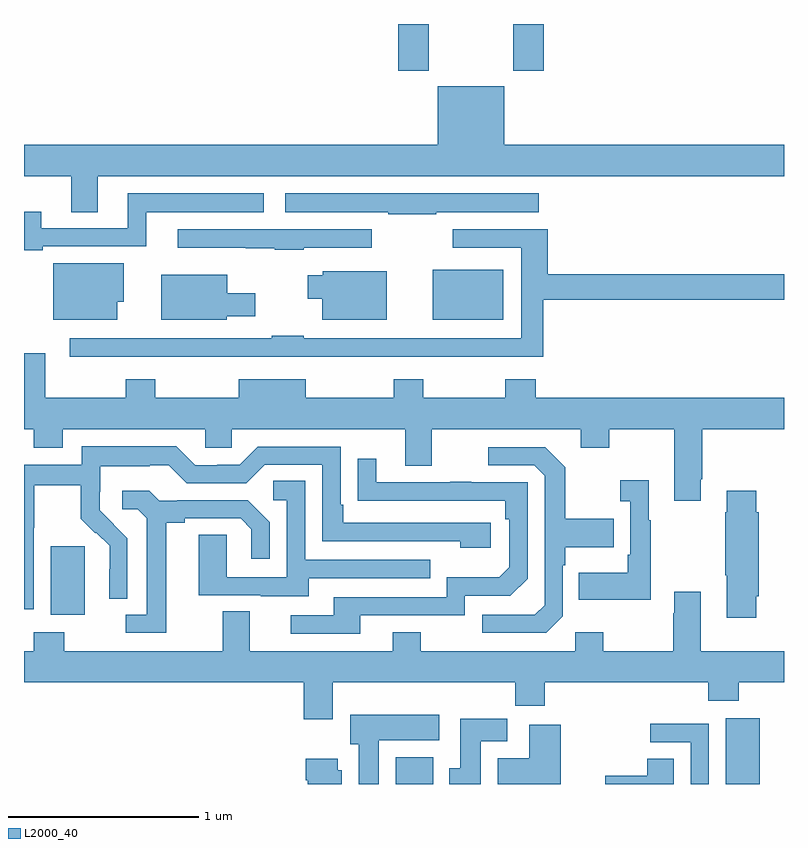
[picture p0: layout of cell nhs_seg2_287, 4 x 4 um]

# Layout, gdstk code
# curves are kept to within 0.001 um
import gdstk
lib = gdstk.Library(unit=1e-6, precision=1e-09)
def R(c, l, rs):  # rectangles x0, y0, x1, y1
    for r in rs: c.add(gdstk.rectangle(r[:2], r[2:], *l))
def P(c, l, *ps):  # polygons
    for p in ps: c.add(gdstk.Polygon(p, *l))
L2000_40 = (2000, 40)

nhs_seg2_287 = lib.new_cell('nhs_seg2_287')
R(nhs_seg2_287, L2000_40, [(126.956,613.8,127.153,613.942), (128.693,613.8,128.872,614.146), (125.141,614.69,125.32,615.051), (127.151,616.244,127.522,616.507), (126.971,617.553,127.131,617.8), (127.576,617.553,127.736,617.8)])
P(nhs_seg2_287, L2000_40, [(125.389,617),(129,617),(129,617.164),(127.528,617.164),(127.528,617.473),(127.178,617.473),(127.178,617.164),(125,617.164),(125,617),(125.249,617),(125.249,616.81),(125.389,616.81)],
  [(125.098,616.629),(125.644,616.629),(125.644,616.808),(126.262,616.808),(126.262,616.909),(125.546,616.909),(125.546,616.725),(125.092,616.725),(125.092,616.813),(125,616.813),(125,616.609),(125.098,616.609)],
  [(127.169,616.808),(127.708,616.808),(127.708,616.909),(126.375,616.909),(126.375,616.808),(126.916,616.808),(126.916,616.798),(127.169,616.798)],
  [(126.473,616.623),(126.829,616.623),(126.829,616.719),(125.808,616.719),(125.808,616.622),(126.166,616.622),(126.166,616.621),(126.32,616.621),(126.32,616.611),(126.473,616.611)],
  [(126.035,616.05),(126.58,616.05),(126.58,616.049),(126.857,616.049),(126.857,616.05),(127.189,616.05),(127.189,616.049),(127.445,616.049),(127.445,616.05),(127.733,616.05),(127.733,616.348),(129,616.348),(129,616.484),(127.757,616.484),(127.757,616.719),(127.257,616.719),(127.257,616.623),(127.617,616.623),(127.617,616.146),(126.473,616.146),(126.473,616.159),(126.304,616.159),(126.304,616.146),(125.241,616.146),(125.241,616.05),(125.779,616.05),(125.779,616.049),(126.035,616.049)],
  [(125.491,616.337),(125.524,616.337),(125.524,616.54),(125.153,616.54),(125.153,616.244),(125.491,616.244)],
  [(126.91,616.498),(126.573,616.498),(126.573,616.477),(126.494,616.477),(126.494,616.355),(126.569,616.355),(126.569,616.244),(126.91,616.244)],
  [(126.066,616.262),(126.217,616.262),(126.217,616.384),(126.07,616.384),(126.07,616.48),(125.723,616.48),(125.723,616.244),(126.066,616.244)],
  [(128.563,615.403),(128.571,615.403),(128.571,615.668),(129,615.668),(129,615.832),(127.694,615.832),(127.694,615.931),(127.534,615.931),(127.534,615.832),(127.101,615.832),(127.101,615.931),(126.946,615.931),(126.946,615.832),(126.484,615.832),(126.484,615.931),(126.131,615.931),(126.131,615.832),(125.691,615.832),(125.691,615.931),(125.536,615.931),(125.536,615.832),(125.113,615.832),(125.113,616.066),(125,616.066),(125,615.668),(125.051,615.668),(125.051,615.569),(125.203,615.569),(125.203,615.668),(125.955,615.668),(125.955,615.57),(126.093,615.57),(126.093,615.668),(127.007,615.668),(127.007,615.474),(127.147,615.474),(127.147,615.668),(127.931,615.668),(127.931,615.569),(128.079,615.569),(128.079,615.668),(128.423,615.668),(128.423,615.291),(128.563,615.291)],
  [(125.052,615.148),(125.055,615.148),(125.055,615.372),(125.299,615.372),(125.299,615.197),(125.376,615.12),(125.379,615.123),(125.45,615.053),(125.45,614.93),(125.448,614.93),(125.448,614.776),(125.544,614.776),(125.544,615.094),(125.398,615.242),(125.398,615.339),(125.4,615.339),(125.4,615.473),(125.663,615.473),(125.663,615.477),(125.763,615.477),(125.856,615.384),(126.171,615.384),(126.267,615.48),(126.57,615.48),(126.57,615.078),(127.295,615.078),(127.295,615.044),(127.456,615.044),(127.456,615.174),(126.679,615.174),(126.679,615.271),(126.666,615.271),(126.666,615.576),(126.231,615.576),(126.135,615.48),(126.017,615.48),(126.017,615.477),(125.901,615.477),(125.801,615.577),(125.304,615.577),(125.304,615.48),(125,615.48),(125,614.719),(125.052,614.719)],
  [(127.836,614.682),(127.836,614.951),(127.849,614.951),(127.849,615.047),(128.105,615.047),(128.105,615.195),(127.849,615.195),(127.849,615.467),(127.743,615.573),(127.443,615.573),(127.443,615.477),(127.686,615.477),(127.74,615.423),(127.74,614.742),(127.689,614.691),(127.413,614.691),(127.413,614.595),(127.749,614.595)],
  [(126.769,614.688),(127.32,614.688),(127.32,614.79),(127.56,614.79),(127.65,614.88),(127.65,615.387),(127.355,615.387),(127.355,615.392),(127.243,615.392),(127.243,615.387),(126.853,615.387),(126.853,615.511),(126.757,615.511),(126.757,615.292),(127.534,615.291),(127.534,615.194),(127.554,615.194),(127.554,614.94),(127.501,614.887),(127.224,614.887),(127.224,614.784),(126.629,614.784),(126.629,614.688),(126.405,614.688),(126.405,614.592),(126.769,614.592)],
  [(128.299,615.187),(128.287,615.187),(128.287,615.4),(128.139,615.4),(128.139,615.287),(128.19,615.287),(128.19,615.007),(128.178,615.007),(128.178,614.911),(127.921,614.911),(127.921,614.771),(128.299,614.771)],
  [(126.499,614.883),(127.139,614.883),(127.139,614.979),(126.48,614.979),(126.48,615.395),(126.312,615.395),(126.312,615.294),(126.384,615.294),(126.384,614.889),(126.066,614.889),(126.066,615.113),(125.921,615.113),(125.921,614.793),(126.245,614.793),(126.245,614.789),(126.499,614.789)],
  [(128.854,614.788),(128.867,614.788),(128.867,615.23),(128.854,615.23),(128.854,615.343),(128.699,615.343),(128.699,615.23),(128.692,615.23),(128.692,614.899),(128.699,614.899),(128.699,614.676),(128.854,614.676)],
  [(125.749,615.176),(125.845,615.176),(125.845,615.198),(126.14,615.198),(126.197,615.141),(126.197,614.985),(126.294,614.985),(126.294,615.178),(126.178,615.294),(125.806,615.294),(125.806,615.291),(125.712,615.291),(125.66,615.343),(125.517,615.343),(125.517,615.246),(125.598,615.246),(125.645,615.199),(125.645,614.691),(125.535,614.691),(125.535,614.595),(125.749,614.595)],
  [(126.625,614.336),(127.585,614.336),(127.585,614.212),(127.742,614.212),(127.742,614.336),(128.602,614.336),(128.602,614.237),(128.763,614.237),(128.763,614.336),(129,614.336),(129,614.5),(128.563,614.5),(128.563,614.812),(128.423,614.812),(128.423,614.699),(128.416,614.699),(128.416,614.5),(128.049,614.5),(128.049,614.599),(127.902,614.599),(127.902,614.5),(127.089,614.5),(127.089,614.599),(126.941,614.599),(126.941,614.5),(126.187,614.5),(126.187,614.708),(126.047,614.708),(126.047,614.5),(125.211,614.5),(125.211,614.599),(125.051,614.599),(125.051,614.5),(125,614.5),(125,614.336),(126.473,614.336),(126.473,614.142),(126.625,614.142)],
  [(126.868,614.03),(127.186,614.03),(127.186,614.164),(126.716,614.164),(126.716,614.01),(126.761,614.01),(126.761,613.8),(126.868,613.8)],
  [(127.405,614.024),(127.544,614.024),(127.544,614.143),(127.295,614.143),(127.295,613.884),(127.238,613.884),(127.238,613.8),(127.405,613.8)],
  [(128.604,614.118),(128.295,614.118),(128.295,614.019),(128.508,614.019),(128.508,613.8),(128.604,613.8)],
  [(127.824,614.113),(127.658,614.113),(127.658,613.936),(127.493,613.936),(127.493,613.8),(127.824,613.8)],
  [(128.419,613.934),(128.281,613.934),(128.281,613.844),(128.058,613.844),(128.058,613.8),(128.419,613.8)],
  [(126.673,613.872),(126.652,613.872),(126.652,613.933),(126.482,613.933),(126.482,613.82),(126.494,613.82),(126.494,613.8),(126.673,613.8)])

lib.write_gds('nhs_seg2_287.gds')
